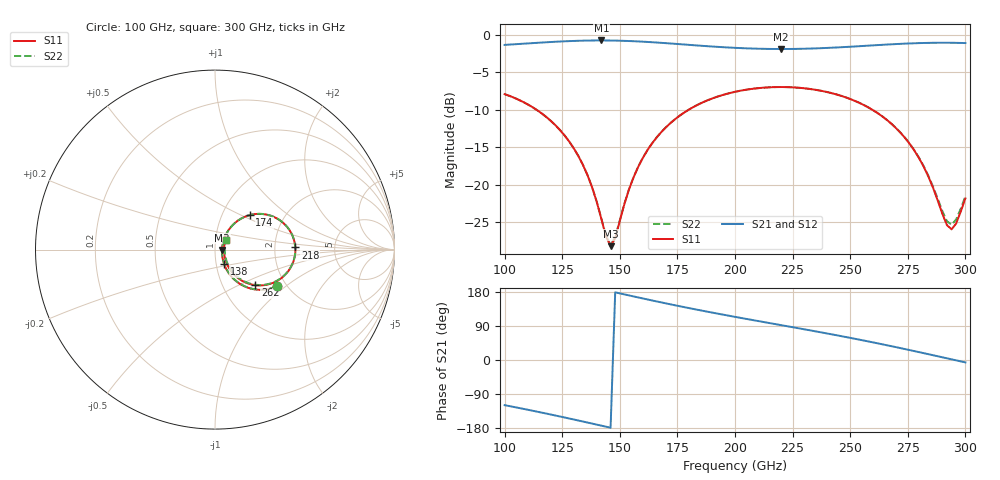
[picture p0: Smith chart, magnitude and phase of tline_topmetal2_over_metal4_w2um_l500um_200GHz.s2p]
#  GHZ S DB R 50
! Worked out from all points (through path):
!   101 points, 100 GHz to 300 GHz, reference 50 ohm
!   highest |S21| = -0.77 dB at 142 GHz (marker M1); lowest = -1.9 dB at 220 GHz (marker M2)
!   group delay of S21, straight-line fit = 3.37 ps
!   lowest |S11| = -28.2 dB at 146 GHz (marker M3), VSWR 1.08, Z = 54 - j0.282 ohm
!   |S11| at or under -10 dB: 113.8 GHz to 179.9 GHz (66.09 GHz wide, 45 % of centre); 259.6 GHz to end of sweep
!   |S22| runs from -28.0 to -7.0 dB; largest |S21 - S12| = 9.2e-14
!   S11 on the Smith chart (normalised r, x): 100 GHz: 1.79, -0.87; 138 GHz: 1.09, -0.18; 174 GHz: 1.35, +0.56; 218 GHz: 2.62, +0.08; 262 GHz: 1.42, -0.62; 300 GHz: 1.12, +0.13
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100  -7.92 -30.4  -1.36 -119.2  -1.36 -119.2  -7.92 -30.3
120  -11.47 -50.8  -0.98 -143.8  -0.98 -143.8  -11.47 -50.5
134  -17.35 -60.0  -0.80 -162.4  -0.80 -162.4  -17.34 -59.6
138  -20.36 -57.9  -0.78 -167.8  -0.78 -167.8  -20.33 -57.3
142  -24.55 -45.8  -0.77 -173.2  -0.77 -173.2  -24.48 -45.1
146  -28.17 -3.8  -0.78 -178.7  -0.78 -178.7  -28.00 -3.6
148  -27.11 23.0  -0.79 178.6  -0.79 178.6  -26.96 22.8
156  -18.98 54.7  -0.88 167.7  -0.88 167.7  -18.95 54.4
168  -12.98 50.1  -1.09 152.0  -1.09 152.0  -12.98 50.0
174  -11.26 44.7  -1.22 144.4  -1.22 144.4  -11.25 44.7
200  -7.62 19.1  -1.76 113.9  -1.76 113.9  -7.62 19.2
218  -6.98 1.5  -1.91 94.2  -1.91 94.2  -6.98 1.7
220  -6.98 -0.4  -1.91 92.0  -1.91 92.0  -6.98 -0.2
234  -7.30 -14.0  -1.84 76.7  -1.84 76.7  -7.30 -13.7
248  -8.35 -27.8  -1.64 60.8  -1.64 60.8  -8.35 -27.4
262  -10.47 -41.4  -1.39 43.9  -1.39 43.9  -10.46 -40.8
268  -11.90 -46.7  -1.29 36.3  -1.29 36.3  -11.89 -46.0
280  -16.51 -53.2  -1.13 20.6  -1.13 20.6  -16.46 -51.8
292  -25.37 -18.5  -1.08 4.5  -1.08 4.5  -24.85 -16.9
294  -25.94 1.6  -1.08 1.8  -1.08 1.8  -25.32 1.8
296  -25.15 21.0  -1.09 -0.9  -1.09 -0.9  -24.61 19.8
300  -21.81 43.4  -1.12 -6.3  -1.12 -6.3  -21.54 41.6
